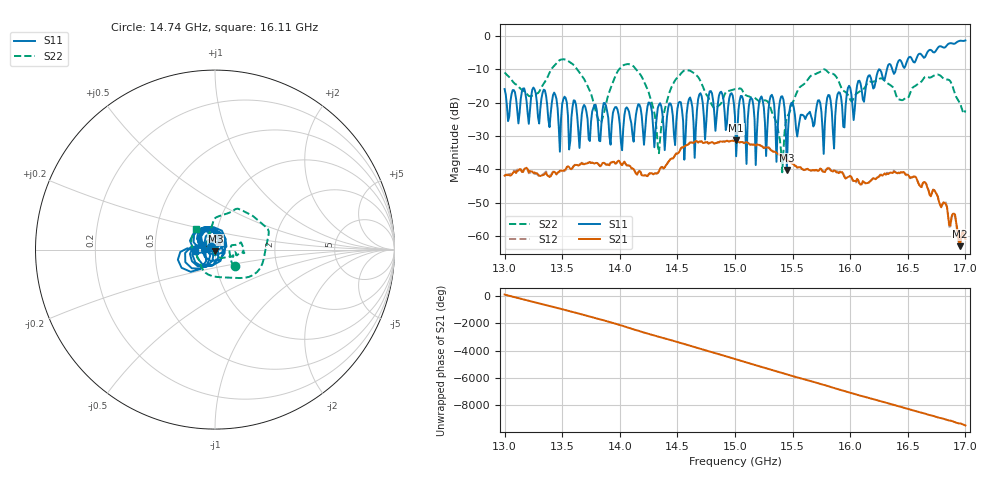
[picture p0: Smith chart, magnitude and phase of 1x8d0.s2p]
!Keysight Technologies,P9374A,MY57211807,A.19.30.04
!Date: Friday, May 08, 2026 15:17:14
!Correction: S11(C  2-Port  )
!S21(C  2-Port  )
!S12(C  2-Port  )
!S22(C  2-Port  )
!S2P File: Measurements: S11, S21, S12, S22:
# Hz S  dB  R 50
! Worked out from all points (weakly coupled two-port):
!   401 points, 13 GHz to 17 GHz, reference 50 ohm
!   highest |S21| = -31.27 dB at 15.01 GHz (marker M1); lowest = -63.0 dB at 16.95 GHz (marker M2)
!   lowest |S11| = -40.1 dB at 15.45 GHz (marker M3), VSWR 1.02, Z = 50.2 - j0.955 ohm
!   |S11| at or under -10 dB: start of sweep to 16.25 GHz; 16.25279 GHz to 16.31879 GHz (66.01 MHz wide, 0.405 % of centre); 16.36561 GHz to 16.39613 GHz (30.52 MHz wide, 0.186 % of centre)
!   |S22| runs from -40.9 to -7.0 dB; largest |S21 - S12| = 0.00098
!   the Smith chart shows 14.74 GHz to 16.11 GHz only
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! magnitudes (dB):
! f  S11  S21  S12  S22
! 13 GHz  -15.9  -41.9  -41.9  -10.9
! 13.22 GHz  -22.3  -40.5  -40.9  -18.1
! 13.49 GHz  -24.8  -40.4  -40.6  -7.0
! 13.67 GHz  -23.5  -38.1  -38.0  -11.9
! 13.83 GHz  -31.5  -39.0  -39.1  -26.0
! 14.12 GHz  -31.7  -39.9  -39.9  -9.1
! 14.34 GHz  -20.6  -40.6  -40.6  -35.1
! 14.55 GHz  -25.6  -33.4  -33.3  -10.6
! 14.79 GHz  -16.5  -32.0  -31.9  -20.0
! 15 GHz  -24.2  -31.4  -31.4  -15.9
! 15.01 GHz  -36.1  -31.3  -31.2  -16.0
! 15.06 GHz  -18.0  -31.8  -31.8  -16.1
! 15.1 GHz  -38.4  -31.8  -31.8  -17.8
! 15.14 GHz  -18.6  -32.5  -32.5  -18.4
! 15.28 GHz  -28.3  -33.4  -33.3  -19.6
! 15.4 GHz  -18.2  -35.7  -35.7  -34.6
! 15.45 GHz  -40.1  -37.3  -37.3  -24.4
! 15.67 GHz  -25.0  -40.2  -40.4  -11.7
! 16.34 GHz  -8.4  -41.2  -41.0  -14.5
! 16.74 GHz  -4.6  -46.8  -46.7  -11.6
! 16.95 GHz  -1.4  -63.0  -62.3  -20.0
! 17 GHz  -1.3  -60.9  -61.0  -22.3
